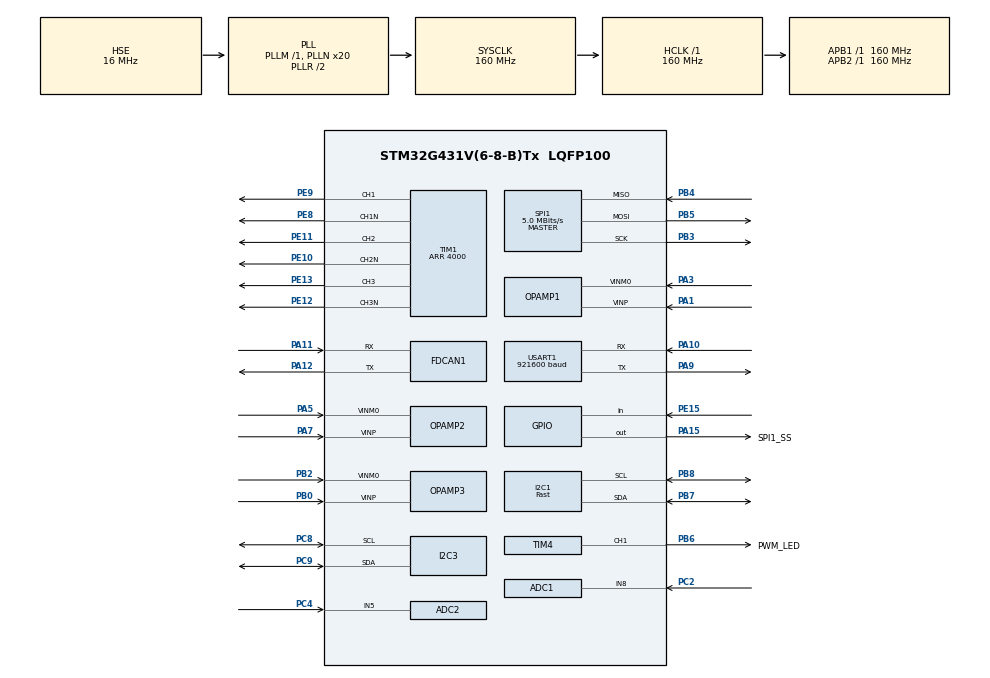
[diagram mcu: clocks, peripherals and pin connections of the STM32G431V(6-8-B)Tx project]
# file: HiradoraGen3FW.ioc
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ADC1.Channel-6\#ChannelRegularConversion=ADC_CHANNEL_VREFINT
ADC1.Channel-9\#ChannelRegularConversion=ADC_CHANNEL_8
ADC1.DiscontinuousConvMode=ENABLE
ADC1.EOCSelection=ADC_EOC_SEQ_CONV
ADC1.EnableInjectedConversion=ENABLE
ADC1.EnableInjectedOversampling=DISABLE
ADC1.EnableRegularConversion=ENABLE
ADC1.ExternalTrigInjecConv=ADC_EXTERNALTRIGINJEC_T1_CC4
ADC1.InjNumberOfConversion=2
ADC1.InjectedChannel-7\#ChannelInjectedConversion=ADC_CHANNEL_VOPAMP1
ADC1.InjectedChannel-8\#ChannelInjectedConversion=ADC_CHANNEL_VOPAMP1
ADC1.InjectedOffsetNumber-7\#ChannelInjectedConversion=ADC_OFFSET_NONE
ADC1.InjectedOffsetNumber-8\#ChannelInjectedConversion=ADC_OFFSET_NONE
ADC1.InjectedRank-7\#ChannelInjectedConversion=1
ADC1.InjectedRank-8\#ChannelInjectedConversion=2
ADC1.InjectedSamplingTime-7\#ChannelInjectedConversion=ADC_SAMPLETIME_12CYCLES_5
ADC1.InjectedSamplingTime-8\#ChannelInjectedConversion=ADC_SAMPLETIME_12CYCLES_5
ADC1.Mode=ADC_DUALMODE_INJECSIMULT
ADC1.NbrOfConversion=2
ADC1.NbrOfConversionFlag=1
ADC1.OffsetNumber-6\#ChannelRegularConversion=ADC_OFFSET_NONE
ADC1.OffsetNumber-9\#ChannelRegularConversion=ADC_OFFSET_NONE
ADC1.Rank-6\#ChannelRegularConversion=1
ADC1.Rank-9\#ChannelRegularConversion=2
ADC1.SamplingTime-6\#ChannelRegularConversion=ADC_SAMPLETIME_247CYCLES_5
ADC1.SamplingTime-9\#ChannelRegularConversion=ADC_SAMPLETIME_247CYCLES_5
ADC1.master=1
ADC2.Channel-5\#ChannelRegularConversion=ADC_CHANNEL_5
ADC2.EOCSelection=ADC_EOC_SEQ_CONV
ADC2.EnableInjectedConversion=ENABLE
ADC2.EnableRegularConversion=ENABLE
ADC2.InjNumberOfConversion=2
ADC2.InjectedChannel-3\#ChannelInjectedConversion=ADC_CHANNEL_VOPAMP2
ADC2.InjectedChannel-4\#ChannelInjectedConversion=ADC_CHANNEL_VOPAMP3_ADC2
ADC2.InjectedOffsetNumber-3\#ChannelInjectedConversion=ADC_OFFSET_NONE
ADC2.InjectedOffsetNumber-4\#ChannelInjectedConversion=ADC_OFFSET_NONE
ADC2.InjectedRank-3\#ChannelInjectedConversion=1
ADC2.InjectedRank-4\#ChannelInjectedConversion=2
ADC2.InjectedSamplingTime-3\#ChannelInjectedConversion=ADC_SAMPLETIME_12CYCLES_5
ADC2.InjectedSamplingTime-4\#ChannelInjectedConversion=ADC_SAMPLETIME_12CYCLES_5
ADC2.Mode=ADC_DUALMODE_INJECSIMULT
ADC2.NbrOfConversionFlag=1
ADC2.OffsetNumber-5\#ChannelRegularConversion=ADC_OFFSET_NONE
ADC2.Rank-5\#ChannelRegularConversion=1
ADC2.SamplingTime-5\#ChannelRegularConversion=ADC_SAMPLETIME_247CYCLES_5
Dma.I2C1_RX.3.Direction=DMA_PERIPH_TO_MEMORY
Dma.I2C1_RX.3.EventEnable=DISABLE
Dma.I2C1_RX.3.Instance=DMA1_Channel4
Dma.I2C1_RX.3.MemDataAlignment=DMA_MDATAALIGN_BYTE
Dma.I2C1_RX.3.MemInc=DMA_MINC_ENABLE
Dma.I2C1_RX.3.Mode=DMA_NORMAL
Dma.I2C1_RX.3.PeriphDataAlignment=DMA_PDATAALIGN_BYTE
Dma.I2C1_RX.3.PeriphInc=DMA_PINC_DISABLE
Dma.I2C1_RX.3.Polarity=HAL_DMAMUX_REQ_GEN_RISING
Dma.I2C1_RX.3.Priority=DMA_PRIORITY_HIGH
Dma.I2C1_RX.3.RequestNumber=1
Dma.I2C1_RX.3.SignalID=NONE
Dma.I2C1_RX.3.SyncEnable=DISABLE
Dma.I2C1_RX.3.SyncPolarity=HAL_DMAMUX_SYNC_NO_EVENT
Dma.I2C1_RX.3.SyncRequestNumber=1
Dma.I2C1_RX.3.SyncSignalID=NONE
Dma.Request0=USART1_TX
Dma.Request1=SPI1_RX
Dma.Request2=SPI1_TX
Dma.Request3=I2C1_RX
Dma.SPI1_RX.1.Direction=DMA_PERIPH_TO_MEMORY
Dma.SPI1_RX.1.EventEnable=DISABLE
Dma.SPI1_RX.1.Instance=DMA1_Channel2
Dma.SPI1_RX.1.MemDataAlignment=DMA_MDATAALIGN_HALFWORD
Dma.SPI1_RX.1.MemInc=DMA_MINC_ENABLE
Dma.SPI1_RX.1.Mode=DMA_NORMAL
Dma.SPI1_RX.1.PeriphDataAlignment=DMA_PDATAALIGN_HALFWORD
Dma.SPI1_RX.1.PeriphInc=DMA_PINC_DISABLE
Dma.SPI1_RX.1.Polarity=HAL_DMAMUX_REQ_GEN_RISING
Dma.SPI1_RX.1.Priority=DMA_PRIORITY_HIGH
Dma.SPI1_RX.1.RequestNumber=1
Dma.SPI1_RX.1.SignalID=NONE
Dma.SPI1_RX.1.SyncEnable=DISABLE
Dma.SPI1_RX.1.SyncPolarity=HAL_DMAMUX_SYNC_NO_EVENT
Dma.SPI1_RX.1.SyncRequestNumber=1
Dma.SPI1_RX.1.SyncSignalID=NONE
Dma.SPI1_TX.2.Direction=DMA_MEMORY_TO_PERIPH
Dma.SPI1_TX.2.EventEnable=DISABLE
Dma.SPI1_TX.2.Instance=DMA1_Channel3
Dma.SPI1_TX.2.MemDataAlignment=DMA_MDATAALIGN_HALFWORD
Dma.SPI1_TX.2.MemInc=DMA_MINC_ENABLE
Dma.SPI1_TX.2.Mode=DMA_NORMAL
Dma.SPI1_TX.2.PeriphDataAlignment=DMA_PDATAALIGN_HALFWORD
Dma.SPI1_TX.2.PeriphInc=DMA_PINC_DISABLE
Dma.SPI1_TX.2.Polarity=HAL_DMAMUX_REQ_GEN_RISING
Dma.SPI1_TX.2.Priority=DMA_PRIORITY_HIGH
Dma.SPI1_TX.2.RequestNumber=1
Dma.SPI1_TX.2.SignalID=NONE
Dma.SPI1_TX.2.SyncEnable=DISABLE
Dma.SPI1_TX.2.SyncPolarity=HAL_DMAMUX_SYNC_NO_EVENT
Dma.SPI1_TX.2.SyncRequestNumber=1
Dma.SPI1_TX.2.SyncSignalID=NONE
Dma.USART1_TX.0.Direction=DMA_MEMORY_TO_PERIPH
Dma.USART1_TX.0.EventEnable=DISABLE
Dma.USART1_TX.0.Instance=DMA1_Channel1
Dma.USART1_TX.0.MemDataAlignment=DMA_MDATAALIGN_BYTE
Dma.USART1_TX.0.MemInc=DMA_MINC_ENABLE
Dma.USART1_TX.0.Mode=DMA_NORMAL
Dma.USART1_TX.0.PeriphDataAlignment=DMA_PDATAALIGN_BYTE
Dma.USART1_TX.0.PeriphInc=DMA_PINC_DISABLE
Dma.USART1_TX.0.Polarity=HAL_DMAMUX_REQ_GEN_RISING
Dma.USART1_TX.0.Priority=DMA_PRIORITY_LOW
Dma.USART1_TX.0.RequestNumber=1
Dma.USART1_TX.0.SignalID=NONE
Dma.USART1_TX.0.SyncEnable=DISABLE
Dma.USART1_TX.0.SyncPolarity=HAL_DMAMUX_SYNC_NO_EVENT
Dma.USART1_TX.0.SyncRequestNumber=1
Dma.USART1_TX.0.SyncSignalID=NONE
FDCAN1.CalculateBaudRateNominal=1000000
FDCAN1.CalculateTimeBitNominal=1000
FDCAN1.CalculateTimeQuantumNominal=62.5
FDCAN1.NominalPrescaler=1
FDCAN1.NominalSyncJumpWidth=2
FDCAN1.NominalTimeSeg1=13
FDCAN1.NominalTimeSeg2=2
FDCAN1.StdFiltersNbr=1
I2C1.I2C_Coeff_DF=8
I2C1.I2C_Speed_Mode=I2C_Fast
I2C1.Timing=0x10F0267E
I2C3.Timing=0x30D29DE4
Mcu.Family=STM32G4
Mcu.Name=STM32G431V(6-8-B)Tx
Mcu.Package=LQFP100
NVIC.ADC1_2_IRQn=true\:0\:0\:false\:false\:true\:true\:true\:true
NVIC.DMA1_Channel1_IRQn=true\:2\:0\:true\:false\:true\:false\:true\:true
NVIC.DMA1_Channel2_IRQn=true\:1\:0\:true\:false\:true\:false\:true\:true
NVIC.DMA1_Channel3_IRQn=true\:1\:0\:true\:false\:true\:false\:true\:true
NVIC.DMA1_Channel4_IRQn=true\:1\:0\:true\:false\:true\:false\:true\:true
NVIC.FDCAN1_IT0_IRQn=true\:3\:0\:true\:false\:true\:true\:true\:true
NVIC.I2C1_ER_IRQn=true\:1\:0\:true\:false\:true\:true\:true\:true
NVIC.I2C1_EV_IRQn=true\:1\:0\:true\:false\:true\:true\:true\:true
NVIC.PriorityGroup=NVIC_PRIORITYGROUP_4
NVIC.SPI1_IRQn=true\:1\:0\:true\:false\:true\:true\:true\:true
NVIC.TIM1_UP_TIM16_IRQn=true\:0\:0\:true\:false\:true\:true\:true\:true
NVIC.USART1_IRQn=true\:2\:0\:true\:false\:true\:true\:true\:true
OPAMP1.PgaGain=OPAMP_PGA_GAIN_16_OR_MINUS_15
OPAMP1.PowerMode=OPAMP_POWERMODE_HIGHSPEED
OPAMP2.PgaGain=OPAMP_PGA_GAIN_16_OR_MINUS_15
OPAMP2.PowerMode=OPAMP_POWERMODE_HIGHSPEED
OPAMP3.PgaGain=OPAMP_PGA_GAIN_16_OR_MINUS_15
OPAMP3.PowerMode=OPAMP_POWERMODE_HIGHSPEED
PA1.Mode=PGA Internally connected_IO0_BIAS
PA1.Signal=OPAMP1_VINP
PA10.Mode=Asynchronous
PA10.Signal=USART1_RX
PA11.Mode=FDCAN_Activate
PA11.Signal=FDCAN1_RX
PA12.Mode=FDCAN_Activate
PA12.Signal=FDCAN1_TX
PA15.GPIO_Label=SPI1_SS
PA15.PinState=GPIO_PIN_SET
PA15.Signal=GPIO_Output
PA3.Mode=PGA Internally connected_IO0_BIAS
PA3.Signal=OPAMP1_VINM0
PA5.Mode=PGA Internally connected_IO0_BIAS
PA5.Signal=OPAMP2_VINM0
PA7.Mode=PGA Internally connected_IO0_BIAS
PA7.Signal=OPAMP2_VINP
PA9.Mode=Asynchronous
PA9.Signal=USART1_TX
PB0.Mode=PGA Internally connected_IO0_BIAS
PB0.Signal=OPAMP3_VINP
PB2.Mode=PGA Internally connected_IO0_BIAS
PB2.Signal=OPAMP3_VINM0
PB3.Mode=Full_Duplex_Master
PB3.Signal=SPI1_SCK
PB4.Mode=Full_Duplex_Master
PB4.Signal=SPI1_MISO
PB5.Mode=Full_Duplex_Master
PB5.Signal=SPI1_MOSI
PB6.GPIO_Label=PWM_LED
PB6.Signal=S_TIM4_CH1
PB7.GPIO_Pu=GPIO_PULLUP
PB7.Mode=I2C
PB7.Signal=I2C1_SDA
PB8-BOOT0.GPIO_Pu=GPIO_PULLUP
PB8-BOOT0.Mode=I2C
PB8-BOOT0.Signal=I2C1_SCL
PC2.Mode=IN8-Single-Ended
PC2.Signal=ADC1_IN8
PC4.Mode=IN5-Single-Ended
PC4.Signal=ADC2_IN5
PC8.Mode=I2C
PC8.Signal=I2C3_SCL
PC9.Mode=I2C
PC9.Signal=I2C3_SDA
PE10.Mode=PWM Generation2 CH2 CH2N
PE10.Signal=TIM1_CH2N
PE11.Signal=S_TIM1_CH2
PE12.Mode=PWM Generation3 CH3 CH3N
PE12.Signal=TIM1_CH3N
PE13.Signal=S_TIM1_CH3
PE15.GPIO_PuPd=GPIO_PULLUP
PE15.Signal=GPIO_Input
PE8.Mode=PWM Generation1 CH1 CH1N
PE8.Signal=TIM1_CH1N
PE9.Signal=S_TIM1_CH1
PF0-OSC_IN.Mode=HSE-External-Oscillator
PF0-OSC_IN.Signal=RCC_OSC_IN
PF1-OSC_OUT.Mode=HSE-External-Oscillator
PF1-OSC_OUT.Signal=RCC_OSC_OUT
ProjectManager.HeapSize=0x200
ProjectManager.StackSize=0x400
ProjectManager.TargetToolchain=CMake
RCC.ADC12Freq_Value=160000000
RCC.AHBFreq_Value=160000000
RCC.APB1Freq_Value=160000000
RCC.APB1TimFreq_Value=160000000
RCC.APB2Freq_Value=160000000
RCC.APB2TimFreq_Value=160000000
RCC.CortexFreq_Value=160000000
RCC.EXTERNAL_CLOCK_VALUE=12288000
RCC.FDCANCLockSelection=RCC_FDCANCLKSOURCE_HSE
RCC.HCLKFreq_Value=160000000
RCC.HSE_VALUE=16000000
RCC.HSI48_VALUE=48000000
RCC.HSI_VALUE=16000000
RCC.LSE_VALUE=32768
RCC.PLLN=20
RCC.PLLSourceVirtual=RCC_PLLSOURCE_HSE
RCC.SYSCLKFreq_VALUE=160000000
RCC.SYSCLKSource=RCC_SYSCLKSOURCE_PLLCLK
RCC.USBFreq_Value=160000000
RCC.VCOOutputFreq_Value=320000000
SH.S_TIM1_CH1.0=TIM1_CH1,PWM Generation1 CH1 CH1N
SH.S_TIM1_CH2.0=TIM1_CH2,PWM Generation2 CH2 CH2N
SH.S_TIM1_CH3.0=TIM1_CH3,PWM Generation3 CH3 CH3N
SH.S_TIM4_CH1.0=TIM4_CH1,PWM Generation1 CH1
SPI1.BaudRatePrescaler=SPI_BAUDRATEPRESCALER_32
SPI1.CLKPhase=SPI_PHASE_2EDGE
SPI1.CalculateBaudRate=5.0 MBits/s
SPI1.DataSize=SPI_DATASIZE_16BIT
SPI1.Direction=SPI_DIRECTION_2LINES
SPI1.Mode=SPI_MODE_MASTER
SPI1.VirtualType=VM_MASTER
TIM1.AutoReloadPreload=TIM_AUTORELOAD_PRELOAD_ENABLE
TIM1.Channel-PWM\ Generation1\ CH1\ CH1N=TIM_CHANNEL_1
TIM1.Channel-PWM\ Generation2\ CH2\ CH2N=TIM_CHANNEL_2
TIM1.Channel-PWM\ Generation3\ CH3\ CH3N=TIM_CHANNEL_3
TIM1.Channel-PWM\ Generation4\ No\ Output=TIM_CHANNEL_4
TIM1.CounterMode=TIM_COUNTERMODE_CENTERALIGNED1
TIM1.DeadTime=32
TIM1.PeriodNoDither=4000
TIM1.PulseNoDither_4=3999
TIM1.RepetitionCounter=1
TIM1.TIM_MasterOutputTrigger=TIM_TRGO_RESET
TIM4.Channel-PWM\ Generation1\ CH1=TIM_CHANNEL_1
TIM4.PeriodNoDither=999
TIM4.Prescaler=159
USART1.BaudRate=921600
USART1.FIFOMode=FIFOMODE_ENABLE
USART1.VirtualMode-Asynchronous=VM_ASYNC
VP_ADC1_OPAMP_INTERNAL1.Mode=IN-OPAMP1
VP_ADC1_Vref_Input.Mode=IN-Vrefint
VP_ADC2_OPAMP_INTERNAL2.Mode=IN-OPAMP2
VP_ADC2_OPAMP_INTERNAL3.Mode=IN-OPAMP3
VP_SYS_VS_DBSignals.Mode=DisableDeadBatterySignals
VP_TIM1_VS_ClockSourceINT.Mode=Internal
VP_TIM1_VS_no_output4.Mode=PWM Generation4 No Output
VP_TIM4_VS_ClockSourceINT.Mode=Internal
board=custom

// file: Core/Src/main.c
/* USER CODE BEGIN Header */
/**
  ******************************************************************************
  * @file           : main.c
  * @brief          : Main program body
  ******************************************************************************
  * @attention
  *
  * Copyright (c) 2026 STMicroelectronics.
  * All rights reserved.
  *
  * This software is licensed under terms that can be found in the LICENSE file
  * in the root directory of this software component.
  * If no LICENSE file comes with this software, it is provided AS-IS.
  *
  ******************************************************************************
  */
/* USER CODE END Header */
#include "main.h"

/* USER CODE BEGIN Includes */
#include "as5600.h"
#include "console.h"
#include "can_comm.h"
#include "current_sense.h"
#include "bus_voltage.h"
#include "motor_control.h"
#include "motor_calibration.h"
#include "foc_voltage.h"
#include "voltage_vector.h"
#include "ntc.h"
#include "stspin32g4.h"
#include <ctype.h>
#include <stdio.h>

/* USER CODE END Includes */

ADC_HandleTypeDef hadc1;
ADC_HandleTypeDef hadc2;

FDCAN_HandleTypeDef hfdcan1;

I2C_HandleTypeDef hi2c1;
I2C_HandleTypeDef hi2c3;
DMA_HandleTypeDef hdma_i2c1_rx;

OPAMP_HandleTypeDef hopamp1;
OPAMP_HandleTypeDef hopamp2;
OPAMP_HandleTypeDef hopamp3;

SPI_HandleTypeDef hspi1;
DMA_HandleTypeDef hdma_spi1_rx;
DMA_HandleTypeDef hdma_spi1_tx;

TIM_HandleTypeDef htim1;
TIM_HandleTypeDef htim4;

UART_HandleTypeDef huart1;
DMA_HandleTypeDef hdma_usart1_tx;

/* USER CODE BEGIN PV */
static char motor_command[CONSOLE_RX_LINE_SIZE];

/* USER CODE END PV */

void SystemClock_Config(void);
static void MX_GPIO_Init(void);
static void MX_DMA_Init(void);
static void MX_TIM1_Init(void);
static void MX_USART1_UART_Init(void);
static void MX_TIM4_Init(void);
static void MX_I2C3_Init(void);
static void MX_OPAMP1_Init(void);
static void MX_OPAMP2_Init(void);
static void MX_ADC1_Init(void);
static void MX_ADC2_Init(void);
static void MX_OPAMP3_Init(void);
static void MX_SPI1_Init(void);
static void MX_FDCAN1_Init(void);
static void MX_I2C1_Init(void);

/* USER CODE BEGIN 0 */
static void PrintGateDriverStatus(const char *label, uint8_t status)
{
  printf("STSPIN32G4 STATUS %s: 0x%02X "
         "[LOCK=%u RESET=%u VDS=%u THSD=%u VCC_UVLO=%u]\r\n",
         label,
         status,
         (status & STSPIN32G4_STATUS_LOCK) != 0U,
         (status & STSPIN32G4_STATUS_RESET) != 0U,
         (status & STSPIN32G4_STATUS_VDS_PROTECTION) != 0U,
         (status & STSPIN32G4_STATUS_THERMAL_SHUTDOWN) != 0U,
         (status & STSPIN32G4_STATUS_VCC_UVLO) != 0U);
}

static bool IsGateDriverCommand(const char *command, const char *expected)
{
  while (isspace((unsigned char)*command) != 0)
  {
    command++;
  }
  while (*expected != '\0')
  {
    if (tolower((unsigned char)*command) != *expected)
    {
      return false;
    }
    command++;
    expected++;
  }
  while (isspace((unsigned char)*command) != 0)
  {
    command++;
  }
  return (*command == '\0');
}

static bool ReadAndPrintGateDriverFault(const char *label)
{
  uint8_t status;
  HAL_StatusTypeDef result;
  GPIO_PinState nfault;
  /* Read only: preserve latched faults for diagnosis. Sample PE15 even
     when I2C fails; the register and pin are sequential snapshots. */
  result = STSPIN32G4_ReadStatus(&hi2c3, &status);
  nfault = HAL_GPIO_ReadPin(GPIOE, GPIO_PIN_15);
  if (result == HAL_OK)
  {
    PrintGateDriverStatus(label, status);
  }
  else
  {
    printf("STSPIN32G4 STATUS read failed: HAL status=%d, HAL error=0x%08lX\r\n",
           (int)result,
           (unsigned long)HAL_I2C_GetError(&hi2c3));
  }
  printf("STSPIN32G4 nFAULT (PE15): %u (%s)\r\n",
         (unsigned int)(nfault == GPIO_PIN_SET),
         (nfault == GPIO_PIN_RESET) ? "LOW, asserted" : "HIGH, inactive");
  return (result == HAL_OK);
}

static bool ProcessGateDriverFaultCommand(const char *command)
{
  HAL_StatusTypeDef result;

  if (IsGateDriverCommand(command, "fault"))
  {
    (void)ReadAndPrintGateDriverFault("current");
    return true;
  }
  if (!IsGateDriverCommand(command, "fault clear"))
  {
    return false;
  }

  /* Clearing the driver latch can re-enable its outputs. Stop PWM first. */
  MotorControl_Stop();
  printf("PWM stopped for fault clear\r\n");
  if (!ReadAndPrintGateDriverFault("before clear"))
  {
    printf("FAULT clear aborted: STATUS is unavailable\r\n");
    return true;
  }

  result = STSPIN32G4_ClearFaults(&hi2c3);
  if (result != HAL_OK)
  {
    printf("STSPIN32G4 CLEAR failed: HAL status=%d, HAL error=0x%08lX\r\n",
           (int)result,
           (unsigned long)HAL_I2C_GetError(&hi2c3));
  }
  else
  {
    printf("STSPIN32G4 CLEAR command sent\r\n");
  }
  /* Same settling time as the startup fault-clear sequence. */
  HAL_Delay(1U);
  (void)ReadAndPrintGateDriverFault("after clear");
  return true;
}

/* USER CODE END 0 */

int main(void)
{

  /* MCU Configuration--------------------------------------------------------*/

  /* Reset of all peripherals, Initializes the Flash interface and the Systick. */
  HAL_Init();

  /* Configure the system clock */
  SystemClock_Config();

  /* Initialize all configured peripherals */
  MX_GPIO_Init();
  MX_DMA_Init();
  MX_TIM1_Init();
  MX_USART1_UART_Init();
  MX_TIM4_Init();
  MX_I2C3_Init();
  MX_OPAMP1_Init();
  MX_OPAMP2_Init();
  MX_ADC1_Init();
  MX_ADC2_Init();
  MX_OPAMP3_Init();
  MX_SPI1_Init();
  MX_FDCAN1_Init();
  MX_I2C1_Init();
  /* USER CODE BEGIN 2 */
  VoltageVector_Init();
  Console_Init(&huart1);

  if (CurrentSense_Init(&hadc1,
                        &hadc2,
                        &hopamp1,
                        &hopamp2,
                        &hopamp3,
                        &htim1) != HAL_OK)
  {
    printf("Current-sense initialization failed\r\n");
    (void)Console_Flush(1000U);
    Error_Handler();
  }

  NTC_Init(&hadc2);

  /* The internal VCC buck soft-start is 3.3 ms according to the datasheet. */
  HAL_Delay(5U);
  if (MotorControl_Init(&htim1, &hi2c3) != HAL_OK)
  {
    printf("Motor PWM remains disabled\r\n");
  }
  else
  {
#if MOTOR_CONTROL_ANGLE_ACQUISITION_ONLY
    printf("Motor initialized; PWM disabled (AS5600 acquisition only)\r\n");
#else
    printf("Motor initialized; PWM stopped (explicit start required)\r\n");
#endif
  }
  /* AS5600 feeds calibration/FOC; PWM remains blocked pending hardware validation. */
  AS5600_Init(&hi2c1, &htim1);
  MotorCalibration_Init();
  CanComm_Init(&hfdcan1); /* CAN駆動は明示armと新しいゼロ指令を必要とする。 */
  printf("Command: <offset>, u/v/w <offset>, mid, stop, start, "
         "run cw/ccw <rpm>, status, adc [decimation], adc stop, adc status, vm, ntc, ntc stop, angle, angle stop, angle status, serial status, foc voltage/start/status/stop, cal start/status/stop/save, fault, fault clear\r\n");
  /* USER CODE END 2 */

  /* Infinite loop */
  while (1)
  {

    /* USER CODE BEGIN 3 */
    /* regularは非blocking。取得中は他のmainタスクを後回しにし、
     * ADCの休止を避ける。injected/TIM/UART割り込みは常時有効。 */
    BusVoltage_Task();
    if (BusVoltage_IsAcquiring()) continue;
    CurrentSense_Task();
    NTC_Task();
    AS5600_Task();
    MotorCalibration_Task();
    FocVoltage_Task();
    FocVoltage_ReportTask();
    CanComm_Task();

    if (Console_ReadLine(motor_command, sizeof(motor_command)))
    {
      if (CanComm_ProcessCommand(motor_command)) {
        /* CANの表示・試験コマンドはmainで処理する。 */
      }
      else if (CurrentSense_IsBusy() || MotorCalibration_IsActive() || FocVoltage_IsActive())
      {
        if (FocVoltage_ProcessCommand(motor_command) ||
            MotorCalibration_ProcessCommand(motor_command) ||
            Console_ProcessCommand(motor_command) ||
            AS5600_ProcessCommand(motor_command) ||
            BusVoltage_ProcessCommand(motor_command) ||
            CurrentSense_ProcessCommand(motor_command)) {
          /* Logger commands remain available while streaming. */
        } else if (MotorControl_ProcessStopCommand(motor_command)) {
          (void)CurrentSense_ProcessCommand("adc stop");
        } else {
          printf("ADC logger busy; use 'adc stop', 'adc status', 'vm' or 'stop'\r\n");
        }
      }
      else if (!FocVoltage_ProcessCommand(motor_command) &&
               !MotorCalibration_ProcessCommand(motor_command) &&
               !Console_ProcessCommand(motor_command) &&
               !BusVoltage_ProcessCommand(motor_command) &&
               !ProcessGateDriverFaultCommand(motor_command) &&
               !AS5600_ProcessCommand(motor_command) &&
               !NTC_ProcessCommand(motor_command) &&
               !CurrentSense_ProcessCommand(motor_command))
      {
        (void)MotorControl_ProcessCommand(motor_command);
      }
    }
    /* HALは1tickを追加して待つ。0指定で次のtickまで待機する。 */
    HAL_Delay(0);
  }
  /* USER CODE END 3 */
}

void SystemClock_Config(void)
{
  RCC_OscInitTypeDef RCC_OscInitStruct = {0};
  RCC_ClkInitTypeDef RCC_ClkInitStruct = {0};

  /** Configure the main internal regulator output voltage
  */
  HAL_PWREx_ControlVoltageScaling(PWR_REGULATOR_VOLTAGE_SCALE1_BOOST);

  /** Initializes the RCC Oscillators according to the specified parameters
  * in the RCC_OscInitTypeDef structure.
  */
  RCC_OscInitStruct.OscillatorType = RCC_OSCILLATORTYPE_HSE;
  RCC_OscInitStruct.HSEState = RCC_HSE_ON;
  RCC_OscInitStruct.PLL.PLLState = RCC_PLL_ON;
  RCC_OscInitStruct.PLL.PLLSource = RCC_PLLSOURCE_HSE;
  RCC_OscInitStruct.PLL.PLLM = RCC_PLLM_DIV1;
  RCC_OscInitStruct.PLL.PLLN = 20;
  RCC_OscInitStruct.PLL.PLLP = RCC_PLLP_DIV2;
  RCC_OscInitStruct.PLL.PLLQ = RCC_PLLQ_DIV2;
  RCC_OscInitStruct.PLL.PLLR = RCC_PLLR_DIV2;
  if (HAL_RCC_OscConfig(&RCC_OscInitStruct) != HAL_OK)
  {
    Error_Handler();
  }

  /** Initializes the CPU, AHB and APB buses clocks
  */
  RCC_ClkInitStruct.ClockType = RCC_CLOCKTYPE_HCLK|RCC_CLOCKTYPE_SYSCLK
                              |RCC_CLOCKTYPE_PCLK1|RCC_CLOCKTYPE_PCLK2;
  RCC_ClkInitStruct.SYSCLKSource = RCC_SYSCLKSOURCE_PLLCLK;
  RCC_ClkInitStruct.AHBCLKDivider = RCC_SYSCLK_DIV1;
  RCC_ClkInitStruct.APB1CLKDivider = RCC_HCLK_DIV1;
  RCC_ClkInitStruct.APB2CLKDivider = RCC_HCLK_DIV1;

  if (HAL_RCC_ClockConfig(&RCC_ClkInitStruct, FLASH_LATENCY_4) != HAL_OK)
  {
    Error_Handler();
  }
}

static void MX_ADC1_Init(void)
{

  ADC_MultiModeTypeDef multimode = {0};
  ADC_ChannelConfTypeDef sConfig = {0};
  ADC_InjectionConfTypeDef sConfigInjected = {0};

  /** Common config
  */
  hadc1.Instance = ADC1;
  hadc1.Init.ClockPrescaler = ADC_CLOCK_SYNC_PCLK_DIV4;
  hadc1.Init.Resolution = ADC_RESOLUTION_12B;
  hadc1.Init.DataAlign = ADC_DATAALIGN_RIGHT;
  hadc1.Init.GainCompensation = 0;
  hadc1.Init.ScanConvMode = ADC_SCAN_ENABLE;
  hadc1.Init.EOCSelection = ADC_EOC_SEQ_CONV;
  hadc1.Init.LowPowerAutoWait = DISABLE;
  hadc1.Init.ContinuousConvMode = DISABLE;
  hadc1.Init.NbrOfConversion = 2;
  hadc1.Init.DiscontinuousConvMode = ENABLE;
  hadc1.Init.NbrOfDiscConversion = 1;
  hadc1.Init.ExternalTrigConv = ADC_SOFTWARE_START;
  hadc1.Init.ExternalTrigConvEdge = ADC_EXTERNALTRIGCONVEDGE_NONE;
  hadc1.Init.DMAContinuousRequests = DISABLE;
  hadc1.Init.Overrun = ADC_OVR_DATA_PRESERVED;
  hadc1.Init.OversamplingMode = DISABLE;
  if (HAL_ADC_Init(&hadc1) != HAL_OK)
  {
    Error_Handler();
  }

  /** Configure the ADC multi-mode
  */
  multimode.Mode = ADC_DUALMODE_INJECSIMULT;
  multimode.DMAAccessMode = ADC_DMAACCESSMODE_DISABLED;
  multimode.TwoSamplingDelay = ADC_TWOSAMPLINGDELAY_1CYCLE;
  if (HAL_ADCEx_MultiModeConfigChannel(&hadc1, &multimode) != HAL_OK)
  {
    Error_Handler();
  }

  /** Configure Regular Channel
  */
  sConfig.Channel = ADC_CHANNEL_VREFINT;
  sConfig.Rank = ADC_REGULAR_RANK_1;
  sConfig.SamplingTime = ADC_SAMPLETIME_247CYCLES_5;
  sConfig.SingleDiff = ADC_SINGLE_ENDED;
  sConfig.OffsetNumber = ADC_OFFSET_NONE;
  sConfig.Offset = 0;
  if (HAL_ADC_ConfigChannel(&hadc1, &sConfig) != HAL_OK)
  {
    Error_Handler();
  }

  /** Configure Regular Channel
  */
  sConfig.Channel = ADC_CHANNEL_8;
  sConfig.Rank = ADC_REGULAR_RANK_2;
  if (HAL_ADC_ConfigChannel(&hadc1, &sConfig) != HAL_OK)
  {
    Error_Handler();
  }

  /** Configure Injected Channel
  */
  sConfigInjected.InjectedChannel = ADC_CHANNEL_VOPAMP1;
  sConfigInjected.InjectedRank = ADC_INJECTED_RANK_1;
  sConfigInjected.InjectedSamplingTime = ADC_SAMPLETIME_12CYCLES_5;
  sConfigInjected.InjectedSingleDiff = ADC_SINGLE_ENDED;
  sConfigInjected.InjectedOffsetNumber = ADC_OFFSET_NONE;
  sConfigInjected.InjectedOffset = 0;
  sConfigInjected.InjectedNbrOfConversion = 2;
  sConfigInjected.InjectedDiscontinuousConvMode = DISABLE;
  sConfigInjected.AutoInjectedConv = DISABLE;
  sConfigInjected.QueueInjectedContext = DISABLE;
  sConfigInjected.ExternalTrigInjecConv = ADC_EXTERNALTRIGINJEC_T1_CC4;
  sConfigInjected.ExternalTrigInjecConvEdge = ADC_EXTERNALTRIGINJECCONV_EDGE_RISING;
  sConfigInjected.InjecOversamplingMode = DISABLE;
  if (HAL_ADCEx_InjectedConfigChannel(&hadc1, &sConfigInjected) != HAL_OK)
  {
    Error_Handler();
  }

  /** Configure Injected Channel
  */
  sConfigInjected.InjectedRank = ADC_INJECTED_RANK_2;
  if (HAL_ADCEx_InjectedConfigChannel(&hadc1, &sConfigInjected) != HAL_OK)
  {
    Error_Handler();
  }

}

static void MX_ADC2_Init(void)
{

  ADC_InjectionConfTypeDef sConfigInjected = {0};
  ADC_ChannelConfTypeDef sConfig = {0};

  /** Common config
  */
  hadc2.Instance = ADC2;
  hadc2.Init.ClockPrescaler = ADC_CLOCK_SYNC_PCLK_DIV4;
  hadc2.Init.Resolution = ADC_RESOLUTION_12B;
  hadc2.Init.DataAlign = ADC_DATAALIGN_RIGHT;
  hadc2.Init.GainCompensation = 0;
  hadc2.Init.ScanConvMode = ADC_SCAN_ENABLE;
  hadc2.Init.EOCSelection = ADC_EOC_SEQ_CONV;
  hadc2.Init.LowPowerAutoWait = DISABLE;
  hadc2.Init.ContinuousConvMode = DISABLE;
  hadc2.Init.NbrOfConversion = 1;
  hadc2.Init.DiscontinuousConvMode = DISABLE;
  hadc2.Init.DMAContinuousRequests = DISABLE;
  hadc2.Init.Overrun = ADC_OVR_DATA_PRESERVED;
  hadc2.Init.OversamplingMode = DISABLE;
  if (HAL_ADC_Init(&hadc2) != HAL_OK)
  {
    Error_Handler();
  }

  /** Configure Injected Channel
  */
  sConfigInjected.InjectedChannel = ADC_CHANNEL_VOPAMP2;
  sConfigInjected.InjectedRank = ADC_INJECTED_RANK_1;
  sConfigInjected.InjectedSamplingTime = ADC_SAMPLETIME_12CYCLES_5;
  sConfigInjected.InjectedSingleDiff = ADC_SINGLE_ENDED;
  sConfigInjected.InjectedOffsetNumber = ADC_OFFSET_NONE;
  sConfigInjected.InjectedOffset = 0;
  sConfigInjected.InjectedNbrOfConversion = 2;
  sConfigInjected.InjectedDiscontinuousConvMode = DISABLE;
  sConfigInjected.AutoInjectedConv = DISABLE;
  sConfigInjected.QueueInjectedContext = DISABLE;
  sConfigInjected.InjecOversamplingMode = DISABLE;
  if (HAL_ADCEx_InjectedConfigChannel(&hadc2, &sConfigInjected) != HAL_OK)
  {
    Error_Handler();
  }

  /** Configure Injected Channel
  */
  sConfigInjected.InjectedChannel = ADC_CHANNEL_VOPAMP3_ADC2;
  sConfigInjected.InjectedRank = ADC_INJECTED_RANK_2;
  if (HAL_ADCEx_InjectedConfigChannel(&hadc2, &sConfigInjected) != HAL_OK)
  {
    Error_Handler();
  }

  /** Configure Regular Channel
  */
  sConfig.Channel = ADC_CHANNEL_5;
  sConfig.Rank = ADC_REGULAR_RANK_1;
  sConfig.SamplingTime = ADC_SAMPLETIME_247CYCLES_5;
  sConfig.SingleDiff = ADC_SINGLE_ENDED;
  sConfig.OffsetNumber = ADC_OFFSET_NONE;
  sConfig.Offset = 0;
  if (HAL_ADC_ConfigChannel(&hadc2, &sConfig) != HAL_OK)
  {
    Error_Handler();
  }

}

static void MX_FDCAN1_Init(void)
{

  hfdcan1.Instance = FDCAN1;
  hfdcan1.Init.ClockDivider = FDCAN_CLOCK_DIV1;
  hfdcan1.Init.FrameFormat = FDCAN_FRAME_CLASSIC;
  hfdcan1.Init.Mode = FDCAN_MODE_NORMAL;
  hfdcan1.Init.AutoRetransmission = DISABLE;
  hfdcan1.Init.TransmitPause = DISABLE;
  hfdcan1.Init.ProtocolException = DISABLE;
  hfdcan1.Init.NominalPrescaler = 1;
  hfdcan1.Init.NominalSyncJumpWidth = 2;
  hfdcan1.Init.NominalTimeSeg1 = 13;
  hfdcan1.Init.NominalTimeSeg2 = 2;
  hfdcan1.Init.DataPrescaler = 1;
  hfdcan1.Init.DataSyncJumpWidth = 1;
  hfdcan1.Init.DataTimeSeg1 = 1;
  hfdcan1.Init.DataTimeSeg2 = 1;
  hfdcan1.Init.StdFiltersNbr = 1;
  hfdcan1.Init.ExtFiltersNbr = 0;
  hfdcan1.Init.TxFifoQueueMode = FDCAN_TX_FIFO_OPERATION;
  if (HAL_FDCAN_Init(&hfdcan1) != HAL_OK)
  {
    Error_Handler();
  }

}

static void MX_I2C1_Init(void)
{

  hi2c1.Instance = I2C1;
  hi2c1.Init.Timing = 0x10F0267E;
  hi2c1.Init.OwnAddress1 = 0;
  hi2c1.Init.AddressingMode = I2C_ADDRESSINGMODE_7BIT;
  hi2c1.Init.DualAddressMode = I2C_DUALADDRESS_DISABLE;
  hi2c1.Init.OwnAddress2 = 0;
  hi2c1.Init.OwnAddress2Masks = I2C_OA2_NOMASK;
  hi2c1.Init.GeneralCallMode = I2C_GENERALCALL_DISABLE;
  hi2c1.Init.NoStretchMode = I2C_NOSTRETCH_DISABLE;
  if (HAL_I2C_Init(&hi2c1) != HAL_OK)
  {
    Error_Handler();
  }

  /** Configure Analogue filter
  */
  if (HAL_I2CEx_ConfigAnalogFilter(&hi2c1, I2C_ANALOGFILTER_ENABLE) != HAL_OK)
  {
    Error_Handler();
  }

  /** Configure Digital filter
  */
  if (HAL_I2CEx_ConfigDigitalFilter(&hi2c1, 8) != HAL_OK)
  {
    Error_Handler();
  }

}

static void MX_I2C3_Init(void)
{

  hi2c3.Instance = I2C3;
  hi2c3.Init.Timing = 0x30D29DE4;
  hi2c3.Init.OwnAddress1 = 0;
  hi2c3.Init.AddressingMode = I2C_ADDRESSINGMODE_7BIT;
  hi2c3.Init.DualAddressMode = I2C_DUALADDRESS_DISABLE;
  hi2c3.Init.OwnAddress2 = 0;
  hi2c3.Init.OwnAddress2Masks = I2C_OA2_NOMASK;
  hi2c3.Init.GeneralCallMode = I2C_GENERALCALL_DISABLE;
  hi2c3.Init.NoStretchMode = I2C_NOSTRETCH_DISABLE;
  if (HAL_I2C_Init(&hi2c3) != HAL_OK)
  {
    Error_Handler();
  }

  /** Configure Analogue filter
  */
  if (HAL_I2CEx_ConfigAnalogFilter(&hi2c3, I2C_ANALOGFILTER_ENABLE) != HAL_OK)
  {
    Error_Handler();
  }

  /** Configure Digital filter
  */
  if (HAL_I2CEx_ConfigDigitalFilter(&hi2c3, 0) != HAL_OK)
  {
    Error_Handler();
  }

}

static void MX_OPAMP1_Init(void)
{

  hopamp1.Instance = OPAMP1;
  hopamp1.Init.PowerMode = OPAMP_POWERMODE_HIGHSPEED;
  hopamp1.Init.Mode = OPAMP_PGA_MODE;
  hopamp1.Init.NonInvertingInput = OPAMP_NONINVERTINGINPUT_IO0;
  hopamp1.Init.InternalOutput = ENABLE;
  hopamp1.Init.TimerControlledMuxmode = OPAMP_TIMERCONTROLLEDMUXMODE_DISABLE;
  hopamp1.Init.PgaConnect = OPAMP_PGA_CONNECT_INVERTINGINPUT_IO0_BIAS;
  hopamp1.Init.PgaGain = OPAMP_PGA_GAIN_16_OR_MINUS_15;
  hopamp1.Init.UserTrimming = OPAMP_TRIMMING_FACTORY;
  if (HAL_OPAMP_Init(&hopamp1) != HAL_OK)
  {
    Error_Handler();
  }

}

static void MX_OPAMP2_Init(void)
{

  hopamp2.Instance = OPAMP2;
  hopamp2.Init.PowerMode = OPAMP_POWERMODE_HIGHSPEED;
  hopamp2.Init.Mode = OPAMP_PGA_MODE;
  hopamp2.Init.NonInvertingInput = OPAMP_NONINVERTINGINPUT_IO0;
  hopamp2.Init.InternalOutput = ENABLE;
  hopamp2.Init.TimerControlledMuxmode = OPAMP_TIMERCONTROLLEDMUXMODE_DISABLE;
  hopamp2.Init.PgaConnect = OPAMP_PGA_CONNECT_INVERTINGINPUT_IO0_BIAS;
  hopamp2.Init.PgaGain = OPAMP_PGA_GAIN_16_OR_MINUS_15;
  hopamp2.Init.UserTrimming = OPAMP_TRIMMING_FACTORY;
  if (HAL_OPAMP_Init(&hopamp2) != HAL_OK)
  {
    Error_Handler();
  }

}

static void MX_OPAMP3_Init(void)
{

  hopamp3.Instance = OPAMP3;
  hopamp3.Init.PowerMode = OPAMP_POWERMODE_HIGHSPEED;
  hopamp3.Init.Mode = OPAMP_PGA_MODE;
  hopamp3.Init.NonInvertingInput = OPAMP_NONINVERTINGINPUT_IO0;
  hopamp3.Init.InternalOutput = ENABLE;
  hopamp3.Init.TimerControlledMuxmode = OPAMP_TIMERCONTROLLEDMUXMODE_DISABLE;
  hopamp3.Init.PgaConnect = OPAMP_PGA_CONNECT_INVERTINGINPUT_IO0_BIAS;
  hopamp3.Init.PgaGain = OPAMP_PGA_GAIN_16_OR_MINUS_15;
  hopamp3.Init.UserTrimming = OPAMP_TRIMMING_FACTORY;
  if (HAL_OPAMP_Init(&hopamp3) != HAL_OK)
  {
    Error_Handler();
  }

}

static void MX_SPI1_Init(void)
{

  /* SPI1 parameter configuration*/
  hspi1.Instance = SPI1;
  hspi1.Init.Mode = SPI_MODE_MASTER;
  hspi1.Init.Direction = SPI_DIRECTION_2LINES;
  hspi1.Init.DataSize = SPI_DATASIZE_16BIT;
  hspi1.Init.CLKPolarity = SPI_POLARITY_LOW;
  hspi1.Init.CLKPhase = SPI_PHASE_2EDGE;
  hspi1.Init.NSS = SPI_NSS_SOFT;
  hspi1.Init.BaudRatePrescaler = SPI_BAUDRATEPRESCALER_32;
  hspi1.Init.FirstBit = SPI_FIRSTBIT_MSB;
  hspi1.Init.TIMode = SPI_TIMODE_DISABLE;
  hspi1.Init.CRCCalculation = SPI_CRCCALCULATION_DISABLE;
  hspi1.Init.CRCPolynomial = 7;
  hspi1.Init.CRCLength = SPI_CRC_LENGTH_DATASIZE;
  hspi1.Init.NSSPMode = SPI_NSS_PULSE_DISABLE;
  if (HAL_SPI_Init(&hspi1) != HAL_OK)
  {
    Error_Handler();
  }

}

static void MX_TIM1_Init(void)
{

  TIM_ClockConfigTypeDef sClockSourceConfig = {0};
  TIM_MasterConfigTypeDef sMasterConfig = {0};
  TIM_OC_InitTypeDef sConfigOC = {0};
  TIM_BreakDeadTimeConfigTypeDef sBreakDeadTimeConfig = {0};

  htim1.Instance = TIM1;
  htim1.Init.Prescaler = 0;
  htim1.Init.CounterMode = TIM_COUNTERMODE_CENTERALIGNED1;
  htim1.Init.Period = 4000;
  htim1.Init.ClockDivision = TIM_CLOCKDIVISION_DIV1;
  htim1.Init.RepetitionCounter = 1;
  htim1.Init.AutoReloadPreload = TIM_AUTORELOAD_PRELOAD_ENABLE;
  if (HAL_TIM_Base_Init(&htim1) != HAL_OK)
  {
    Error_Handler();
  }
  sClockSourceConfig.ClockSource = TIM_CLOCKSOURCE_INTERNAL;
  if (HAL_TIM_ConfigClockSource(&htim1, &sClockSourceConfig) != HAL_OK)
  {
    Error_Handler();
  }
  if (HAL_TIM_PWM_Init(&htim1) != HAL_OK)
  {
    Error_Handler();
  }
  sMasterConfig.MasterOutputTrigger = TIM_TRGO_RESET;
  sMasterConfig.MasterOutputTrigger2 = TIM_TRGO2_RESET;
  sMasterConfig.MasterSlaveMode = TIM_MASTERSLAVEMODE_DISABLE;
  if (HAL_TIMEx_MasterConfigSynchronization(&htim1, &sMasterConfig) != HAL_OK)
  {
    Error_Handler();
  }
  sConfigOC.OCMode = TIM_OCMODE_PWM1;
  sConfigOC.Pulse = 0;
  sConfigOC.OCPolarity = TIM_OCPOLARITY_HIGH;
  sConfigOC.OCNPolarity = TIM_OCNPOLARITY_HIGH;
  sConfigOC.OCFastMode = TIM_OCFAST_DISABLE;
  sConfigOC.OCIdleState = TIM_OCIDLESTATE_RESET;
  sConfigOC.OCNIdleState = TIM_OCNIDLESTATE_RESET;
  if (HAL_TIM_PWM_ConfigChannel(&htim1, &sConfigOC, TIM_CHANNEL_1) != HAL_OK)
  {
    Error_Handler();
  }
  if (HAL_TIM_PWM_ConfigChannel(&htim1, &sConfigOC, TIM_CHANNEL_2) != HAL_OK)
  {
    Error_Handler();
  }
  if (HAL_TIM_PWM_ConfigChannel(&htim1, &sConfigOC, TIM_CHANNEL_3) != HAL_OK)
  {
    Error_Handler();
  }
  sConfigOC.Pulse = 3999;
  if (HAL_TIM_PWM_ConfigChannel(&htim1, &sConfigOC, TIM_CHANNEL_4) != HAL_OK)
  {
    Error_Handler();
  }
  sBreakDeadTimeConfig.OffStateRunMode = TIM_OSSR_DISABLE;
  sBreakDeadTimeConfig.OffStateIDLEMode = TIM_OSSI_DISABLE;
  sBreakDeadTimeConfig.LockLevel = TIM_LOCKLEVEL_OFF;
  sBreakDeadTimeConfig.DeadTime = 32;
  sBreakDeadTimeConfig.BreakState = TIM_BREAK_DISABLE;
  sBreakDeadTimeConfig.BreakPolarity = TIM_BREAKPOLARITY_HIGH;
  sBreakDeadTimeConfig.BreakFilter = 0;
  sBreakDeadTimeConfig.BreakAFMode = TIM_BREAK_AFMODE_INPUT;
  sBreakDeadTimeConfig.Break2State = TIM_BREAK2_DISABLE;
  sBreakDeadTimeConfig.Break2Polarity = TIM_BREAK2POLARITY_HIGH;
  sBreakDeadTimeConfig.Break2Filter = 0;
  sBreakDeadTimeConfig.Break2AFMode = TIM_BREAK_AFMODE_INPUT;
  sBreakDeadTimeConfig.AutomaticOutput = TIM_AUTOMATICOUTPUT_DISABLE;
  if (HAL_TIMEx_ConfigBreakDeadTime(&htim1, &sBreakDeadTimeConfig) != HAL_OK)
  {
    Error_Handler();
  }
  HAL_TIM_MspPostInit(&htim1);

}

static void MX_TIM4_Init(void)
{

  TIM_ClockConfigTypeDef sClockSourceConfig = {0};
  TIM_MasterConfigTypeDef sMasterConfig = {0};
  TIM_OC_InitTypeDef sConfigOC = {0};

  htim4.Instance = TIM4;
  htim4.Init.Prescaler = 159;
  htim4.Init.CounterMode = TIM_COUNTERMODE_UP;
  htim4.Init.Period = 999;
  htim4.Init.ClockDivision = TIM_CLOCKDIVISION_DIV1;
  htim4.Init.AutoReloadPreload = TIM_AUTORELOAD_PRELOAD_DISABLE;
  if (HAL_TIM_Base_Init(&htim4) != HAL_OK)
  {
    Error_Handler();
  }
  sClockSourceConfig.ClockSource = TIM_CLOCKSOURCE_INTERNAL;
  if (HAL_TIM_ConfigClockSource(&htim4, &sClockSourceConfig) != HAL_OK)
  {
    Error_Handler();
  }
  if (HAL_TIM_PWM_Init(&htim4) != HAL_OK)
  {
    Error_Handler();
  }
  sMasterConfig.MasterOutputTrigger = TIM_TRGO_RESET;
  sMasterConfig.MasterSlaveMode = TIM_MASTERSLAVEMODE_DISABLE;
  if (HAL_TIMEx_MasterConfigSynchronization(&htim4, &sMasterConfig) != HAL_OK)
  {
    Error_Handler();
  }
  sConfigOC.OCMode = TIM_OCMODE_PWM1;
  sConfigOC.Pulse = 0;
  sConfigOC.OCPolarity = TIM_OCPOLARITY_HIGH;
  sConfigOC.OCFastMode = TIM_OCFAST_DISABLE;
  if (HAL_TIM_PWM_ConfigChannel(&htim4, &sConfigOC, TIM_CHANNEL_1) != HAL_OK)
  {
    Error_Handler();
  }
  HAL_TIM_MspPostInit(&htim4);

}

static void MX_USART1_UART_Init(void)
{

  huart1.Instance = USART1;
  huart1.Init.BaudRate = 921600;
  huart1.Init.WordLength = UART_WORDLENGTH_8B;
  huart1.Init.StopBits = UART_STOPBITS_1;
  huart1.Init.Parity = UART_PARITY_NONE;
  huart1.Init.Mode = UART_MODE_TX_RX;
  huart1.Init.HwFlowCtl = UART_HWCONTROL_NONE;
  huart1.Init.OverSampling = UART_OVERSAMPLING_16;
  huart1.Init.OneBitSampling = UART_ONE_BIT_SAMPLE_DISABLE;
  huart1.Init.ClockPrescaler = UART_PRESCALER_DIV1;
  huart1.AdvancedInit.AdvFeatureInit = UART_ADVFEATURE_NO_INIT;
  if (HAL_UART_Init(&huart1) != HAL_OK)
  {
    Error_Handler();
  }
  if (HAL_UARTEx_SetTxFifoThreshold(&huart1, UART_TXFIFO_THRESHOLD_1_8) != HAL_OK)
  {
    Error_Handler();
  }
  if (HAL_UARTEx_SetRxFifoThreshold(&huart1, UART_RXFIFO_THRESHOLD_1_8) != HAL_OK)
  {
    Error_Handler();
  }
  if (HAL_UARTEx_EnableFifoMode(&huart1) != HAL_OK)
  {
    Error_Handler();
  }

}

static void MX_DMA_Init(void)
{

  /* DMA controller clock enable */
  __HAL_RCC_DMAMUX1_CLK_ENABLE();
  __HAL_RCC_DMA1_CLK_ENABLE();

  /* DMA interrupt init */
  /* DMA1_Channel1_IRQn interrupt configuration */
  HAL_NVIC_SetPriority(DMA1_Channel1_IRQn, 2, 0);
  HAL_NVIC_EnableIRQ(DMA1_Channel1_IRQn);
  /* DMA1_Channel2_IRQn interrupt configuration */
  HAL_NVIC_SetPriority(DMA1_Channel2_IRQn, 1, 0);
  HAL_NVIC_EnableIRQ(DMA1_Channel2_IRQn);
  /* DMA1_Channel3_IRQn interrupt configuration */
  HAL_NVIC_SetPriority(DMA1_Channel3_IRQn, 1, 0);
  HAL_NVIC_EnableIRQ(DMA1_Channel3_IRQn);
  /* DMA1_Channel4_IRQn interrupt configuration */
  HAL_NVIC_SetPriority(DMA1_Channel4_IRQn, 1, 0);
  HAL_NVIC_EnableIRQ(DMA1_Channel4_IRQn);

}

static void MX_GPIO_Init(void)
{
  GPIO_InitTypeDef GPIO_InitStruct = {0};

  /* GPIO Ports Clock Enable */
  __HAL_RCC_GPIOF_CLK_ENABLE();
  __HAL_RCC_GPIOC_CLK_ENABLE();
  __HAL_RCC_GPIOA_CLK_ENABLE();
  __HAL_RCC_GPIOB_CLK_ENABLE();
  __HAL_RCC_GPIOE_CLK_ENABLE();

  /*Configure GPIO pin Output Level */
  HAL_GPIO_WritePin(SPI1_SS_GPIO_Port, SPI1_SS_Pin, GPIO_PIN_SET);

  /*Configure GPIO pin : PE15 */
  GPIO_InitStruct.Pin = GPIO_PIN_15;
  GPIO_InitStruct.Mode = GPIO_MODE_INPUT;
  GPIO_InitStruct.Pull = GPIO_PULLUP;
  HAL_GPIO_Init(GPIOE, &GPIO_InitStruct);

  /*Configure GPIO pin : SPI1_SS_Pin */
  GPIO_InitStruct.Pin = SPI1_SS_Pin;
  GPIO_InitStruct.Mode = GPIO_MODE_OUTPUT_PP;
  GPIO_InitStruct.Pull = GPIO_NOPULL;
  GPIO_InitStruct.Speed = GPIO_SPEED_FREQ_LOW;
  HAL_GPIO_Init(SPI1_SS_GPIO_Port, &GPIO_InitStruct);

}

/* USER CODE BEGIN 4 */
void I2C1_Reinitialize(void)
{
  /* Reuse CubeMX settings after the stopped encoder recovery deinitializes I2C. */
  MX_I2C1_Init();
}

/* USER CODE END 4 */

void Error_Handler(void)
{
  __disable_irq();
  while (1)
  {
  }
}
